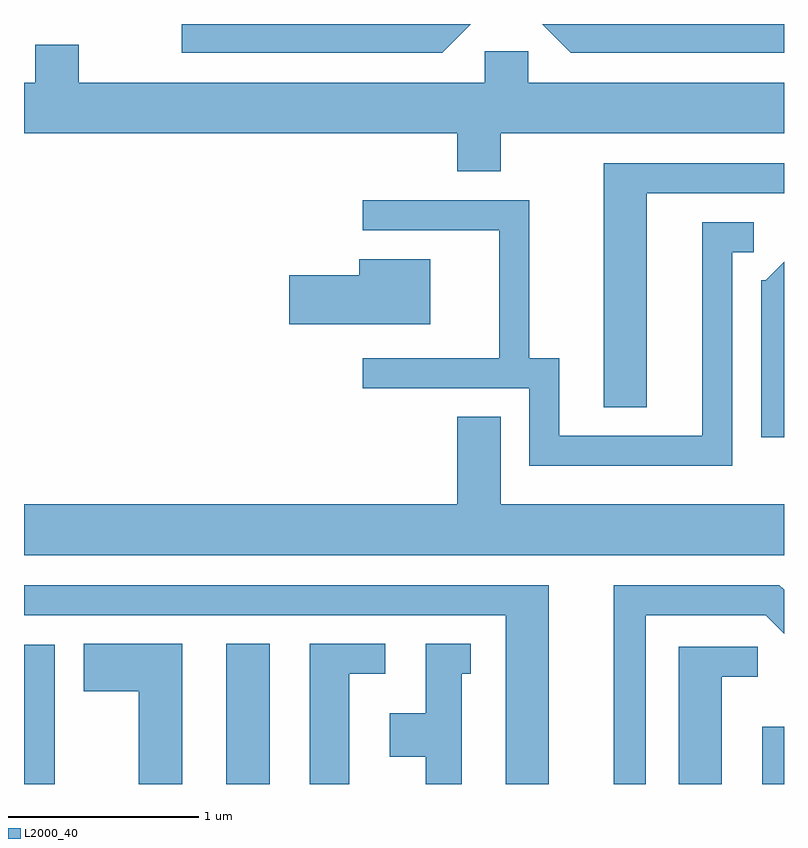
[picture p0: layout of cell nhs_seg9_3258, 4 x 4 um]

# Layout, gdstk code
import gdstk
lib = gdstk.Library(unit=1e-6, precision=1e-09)
def R(c, l, rs):  # rectangles x0, y0, x1, y1
    for r in rs: c.add(gdstk.rectangle(r[:2], r[2:], *l))
def P(c, l, *ps):  # polygons
    for p in ps: c.add(gdstk.Polygon(p, *l))
L2000_40 = (2000, 40)

nhs_seg9_3258 = lib.new_cell('nhs_seg9_3258')
R(nhs_seg9_3258, L2000_40, [(281.611,1948.432,281.774,1949.164), (282.676,1948.432,282.904,1949.169), (285.496,1948.432,285.611,1948.733)])
P(nhs_seg9_3258, L2000_40, [(283.963,1952.432),(282.441,1952.432),(282.441,1952.281),(283.812,1952.281)],
  [(285.611,1952.432),(284.338,1952.432),(284.489,1952.281),(285.611,1952.281)],
  [(284.119,1951.856),(285.611,1951.856),(285.611,1952.124),(284.264,1952.124),(284.264,1952.289),(284.036,1952.289),(284.036,1952.124),(281.899,1952.124),(281.899,1952.324),(281.671,1952.324),(281.671,1952.124),(281.611,1952.124),(281.611,1951.856),(283.891,1951.856),(283.891,1951.656),(284.119,1951.656)],
  [(284.889,1951.541),(285.611,1951.541),(285.611,1951.699),(284.661,1951.699),(284.661,1950.416),(284.889,1950.416)],
  [(285.339,1951.231),(285.453,1951.231),(285.453,1951.389),(285.181,1951.389),(285.181,1950.264),(284.429,1950.264),(284.429,1950.674),(284.269,1950.674),(284.269,1951.504),(283.393,1951.504),(283.393,1951.346),(284.111,1951.346),(284.111,1950.674),(283.393,1950.674),(283.393,1950.516),(284.271,1950.516),(284.271,1950.106),(285.339,1950.106)],
  [(283.749,1951.194),(283.376,1951.194),(283.376,1951.109),(283.006,1951.109),(283.006,1950.851),(283.749,1950.851)],
  [(285.611,1951.182),(285.514,1951.084),(285.491,1951.084),(285.491,1950.256),(285.611,1950.256)],
  [(285.611,1949.904),(284.119,1949.904),(284.119,1950.364),(283.891,1950.364),(283.891,1949.904),(281.611,1949.904),(281.611,1949.636),(285.611,1949.636)],
  [(284.374,1949.479),(281.611,1949.479),(281.611,1949.321),(284.146,1949.321),(284.146,1948.432),(284.374,1948.432)],
  [(284.884,1949.321),(285.514,1949.321),(285.611,1949.224),(285.611,1949.455),(285.587,1949.479),(284.716,1949.479),(284.716,1948.432),(284.884,1948.432)],
  [(282.444,1949.169),(281.926,1949.169),(281.926,1948.921),(282.216,1948.921),(282.216,1948.432),(282.444,1948.432)],
  [(283.324,1949.011),(283.513,1949.011),(283.513,1949.169),(283.116,1949.169),(283.116,1948.432),(283.324,1948.432)],
  [(283.914,1949.011),(283.963,1949.011),(283.963,1949.169),(283.726,1949.169),(283.726,1948.804),(283.536,1948.804),(283.536,1948.576),(283.726,1948.576),(283.726,1948.432),(283.914,1948.432)],
  [(285.284,1948.996),(285.473,1948.996),(285.473,1949.154),(285.056,1949.154),(285.056,1948.432),(285.284,1948.432)])

lib.write_gds('nhs_seg9_3258.gds')
